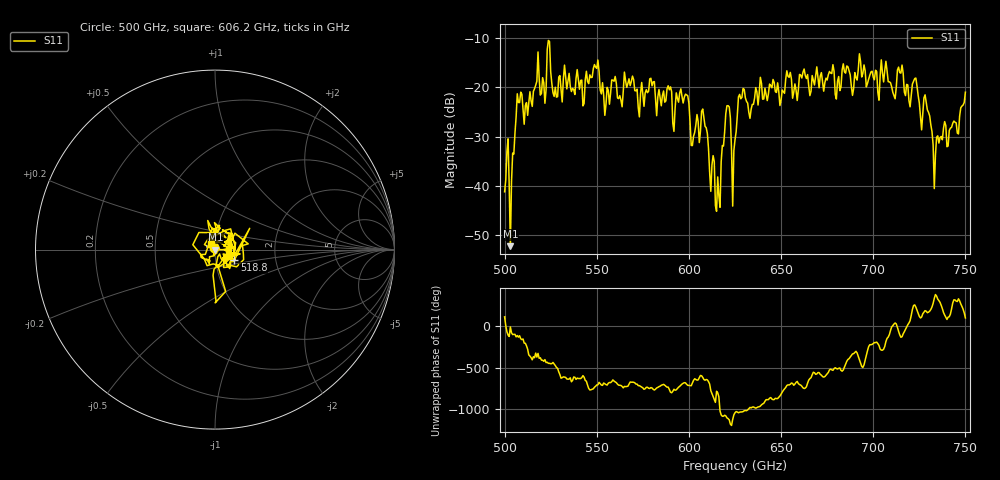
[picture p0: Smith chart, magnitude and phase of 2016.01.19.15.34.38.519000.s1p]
!Created with skrf (http://scikit-rf.org).
# GHz S RI R 50.0
!freq ReS11 ImS11
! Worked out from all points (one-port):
!   401 points, 500 GHz to 750 GHz, reference 50 ohm
!   lowest |S11| = -52.2 dB at 503.1 GHz (marker M1), VSWR 1.00, Z = 50.2 - j0.0281 ohm
!   |S11| at or under -10 dB: start of sweep to end of sweep
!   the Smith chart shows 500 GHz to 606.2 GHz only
!   S11 on the Smith chart (normalised r, x): 500 GHz: 0.99, +0.02; 518.8 GHz: 1.23, -0.15; 606.2 GHz: 0.96, +0.06
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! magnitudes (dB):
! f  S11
! 500 GHz  -41.2
! 503.1 GHz  -52.2
! 508.1 GHz  -23.1
! 518.8 GHz  -18.2
! 524.4 GHz  -10.8
! 527.5 GHz  -20.0
! 531.2 GHz  -23.0
! 549.4 GHz  -15.9
! 553.8 GHz  -21.7
! 562.5 GHz  -21.7
! 593.8 GHz  -22.3
! 598.8 GHz  -21.6
! 601.9 GHz  -31.8
! 606.2 GHz  -29.0
! 608.8 GHz  -27.9
! 615.6 GHz  -38.2
! 620.6 GHz  -23.8
! 625 GHz  -30.7
! 628.8 GHz  -22.1
! 656.2 GHz  -22.3
! 687.5 GHz  -17.5
! 705.6 GHz  -19.0
! 711.2 GHz  -21.7
! 714.4 GHz  -17.1
! 718.8 GHz  -19.6
! 728.8 GHz  -23.1
! 733.8 GHz  -33.8
! 750 GHz  -21.0
